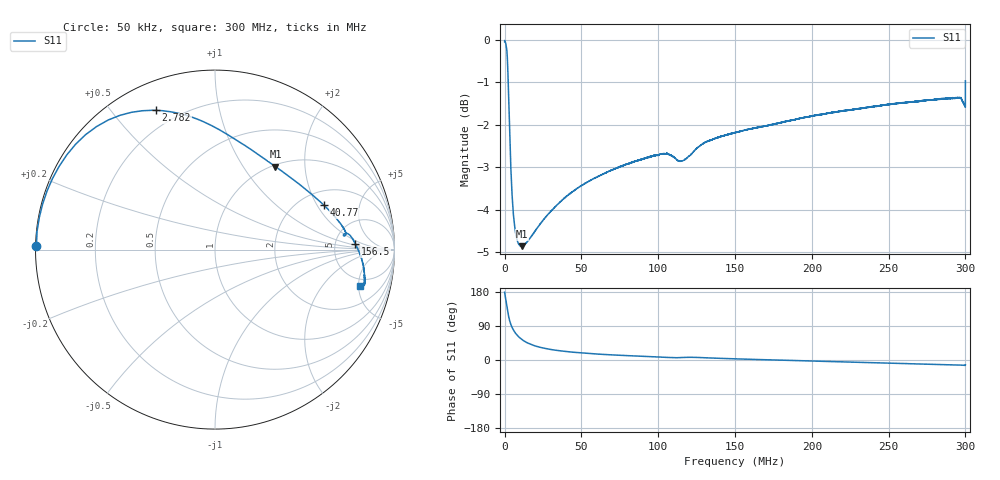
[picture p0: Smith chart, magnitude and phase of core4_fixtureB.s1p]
# HZ S RI R 50
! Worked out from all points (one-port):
!   10100 points, 50 kHz to 300 MHz, reference 50 ohm
!   lowest |S11| = -4.9 dB at 11.28 MHz (marker M1), VSWR 3.67, Z = 51.4 + j70.7 ohm
!   |S11| at or under -10 dB: nowhere
!   S11 on the Smith chart (normalised r, x): 50 kHz: 0.00, +0.01; 2.782 MHz: 0.12, +0.66; 40.77 MHz: 2.65, +2.29; 156.5 MHz: 8.01, +1.29; 300 MHz: 3.61, -7.17
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50000  -0.9951 0.0207
614300  -0.9566 0.2665
1208300  -0.8481 0.496
2010200  -0.5949 0.7221
2396300  -0.4537 0.767
2782400  -0.3282 0.7759
3346801  -0.1833 0.7546
4059601  -0.0556 0.7089
4742701  0.028 0.6656
5574301  0.101 0.6217
6643602  0.1674 0.58
8009802  0.234 0.5344
1.12769e7  0.3364 0.4626
1.55836e7  0.4197 0.4022
2.122681e7  0.4888 0.3494
3.756231e7  0.594 0.2595
4.077001e7  0.6073 0.2468
7.504502e7  0.6928 0.1532
1.028154e8  0.7282 0.0951
1.125573e8  0.718 0.0761
1.237843e8  0.7362 0.0902
1.5004e8  0.7767 0.0419
1.565148e8  0.7826 0.0312
1.875227e8  0.8048 -0.0171
2.250351e8  0.8236 -0.0791
2.625177e8  0.8324 -0.1417
2.984856e8  0.8198 -0.2027
3.000003e8  0.8731 -0.1973
